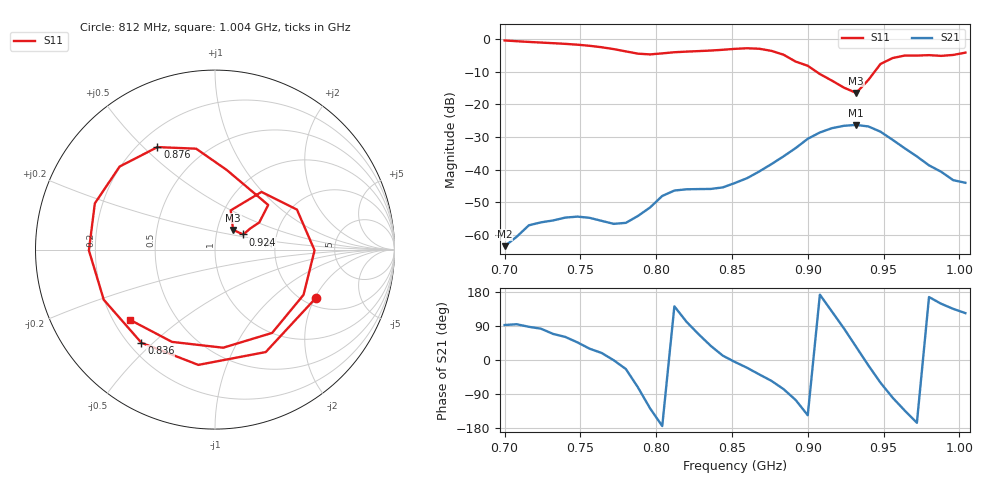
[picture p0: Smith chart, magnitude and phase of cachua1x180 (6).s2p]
# Hz S RI R 50
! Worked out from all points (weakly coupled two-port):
!   39 points, 700 MHz to 1.004 GHz, reference 50 ohm
!   highest |S21| = -26.33 dB at 932 MHz (marker M1); lowest = -63.4 dB at 700 MHz (marker M2)
!   lowest |S11| = -16.5 dB at 932 MHz (marker M3), VSWR 1.35, Z = 59.6 + j13.4 ohm
!   |S11| at or under -10 dB: 905.6 MHz to 944.2 MHz (38.65 MHz wide, 4.18 % of centre)
!   S12 and S22 are empty: the file has one direction only
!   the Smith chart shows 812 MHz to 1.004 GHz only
!   S11 on the Smith chart (normalised r, x): 812 MHz: 2.31, -2.04; 836 MHz: 0.25, -0.46; 876 MHz: 0.28, +0.55; 924 MHz: 1.35, +0.24; 1.004 GHz: 0.27, -0.34
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7e8  0.7616 0.5571  -2.69e-05 0.000676  0 0  0 0
7.24e8  0.8404 -0.2473  0.000202 0.00155  0 0  0 0
7.4e8  0.4576 -0.7009  0.000897 0.00162  0 0  0 0
7.56e8  -0.1896 -0.759  0.00159 0.000917  0 0  0 0
7.72e8  -0.6654 -0.2037  0.00148 -1.7e-05  0 0  0 0
7.8e8  -0.6032 0.2192  0.00141 -0.000622  0 0  0 0
7.88e8  -0.2572 0.5341  0.000592 -0.00187  0 0  0 0
7.96e8  0.2293 0.5302  -0.00162 -0.00209  0 0  0 0
8.04e8  0.5689 0.1873  -0.00394 -0.000395  0 0  0 0
8.12e8  0.562 -0.2694  -0.00376 0.00297  0 0  0 0
8.2e8  0.2828 -0.5708  -0.00094 0.00492  0 0  0 0
8.36e8  -0.4101 -0.519  0.00403 0.00308  0 0  0 0
8.52e8  -0.7025 -0.00461  0.00623 -0.000578  0 0  0 0
8.76e8  -0.3207 0.5711  0.00697 -0.00994  0 0  0 0
9e8  0.2964 0.2487  -0.0245 -0.0167  0 0  0 0
9.08e8  0.2466 0.1513  -0.0367 0.00485  0 0  0 0
9.24e8  0.1577 0.0842  0.00605 0.0465  0 0  0 0
9.32e8  0.1008 0.1098  0.0399 0.0272  0 0  0 0
9.56e8  0.4566 0.2229  -0.00467 -0.0282  0 0  0 0
9.64e8  0.5547 -0.00416  -0.0146 -0.0154  0 0  0 0
9.8e8  0.3183 -0.4642  -0.0113 0.00278  0 0  0 0
1.004e9  -0.4744 -0.3909  -0.00349 0.00525  0 0  0 0
